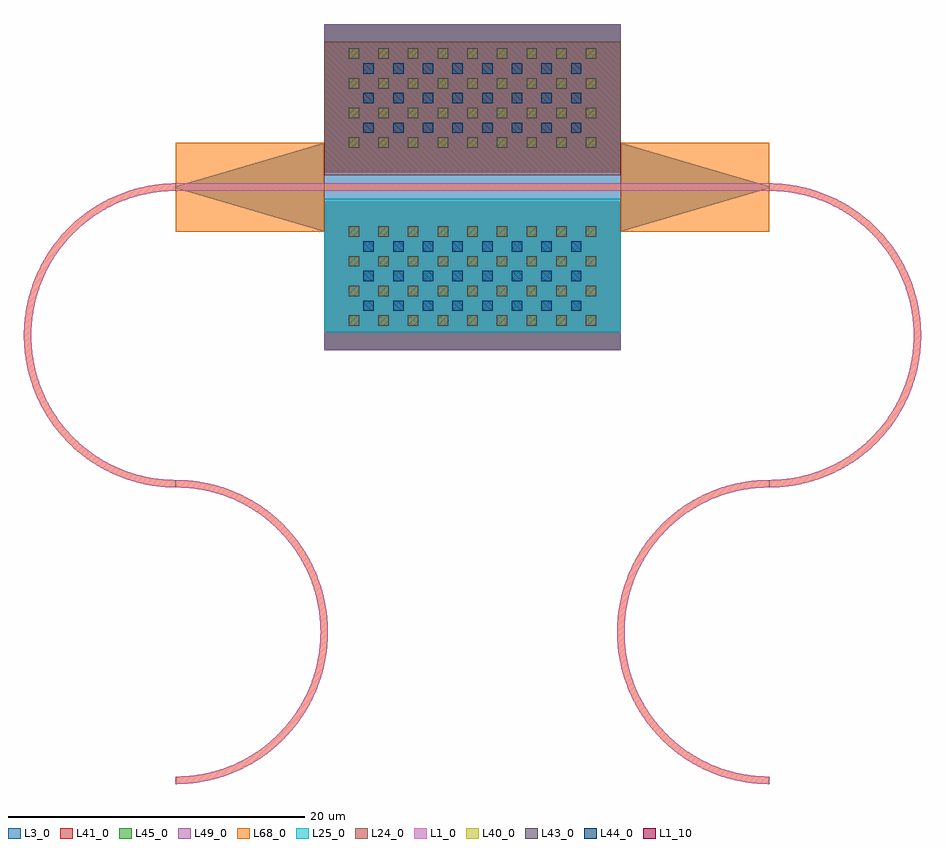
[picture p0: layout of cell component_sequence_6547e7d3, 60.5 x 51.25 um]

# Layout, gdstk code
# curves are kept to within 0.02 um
from math import pi, radians
import gdstk
lib = gdstk.Library(unit=1e-6, precision=1e-09)
def R(c, l, rs):  # rectangles x0, y0, x1, y1
    for r in rs: c.add(gdstk.rectangle(r[:2], r[2:], *l))
def P(c, l, *ps):  # polygons
    for p in ps: c.add(gdstk.Polygon(p, *l))
L1_0 = (1, 0)
L1_10 = (1, 10)
L3_0 = (3, 0)
L24_0 = (24, 0)
L25_0 = (25, 0)
L40_0 = (40, 0)
L41_0 = (41, 0)
L43_0 = (43, 0)
L44_0 = (44, 0)
L45_0 = (45, 0)
L49_0 = (49, 0)
L68_0 = (68, 0)

bend_circular_angle180 = lib.new_cell('bend_circular_angle180')
P(bend_circular_angle180, L1_0, [(0,-0.25),(0.985,-0.203),(1.961,-0.061),(2.919,0.174),(3.85,0.5),(4.745,0.914),(5.671,1.462),(6.466,2.046),(7.264,2.768),(7.982,3.569),(8.563,4.366),(9.065,5.215),(9.483,6.109),(9.813,7.038),(10.052,7.995),(10.198,8.97),(10.25,9.955),(10.207,10.94),(10.052,12.005),(9.813,12.962),(9.483,13.891),(9.065,14.785),(8.563,15.634),(7.982,16.431),(7.264,17.232),(6.535,17.897),(5.82,18.438),(4.982,18.958),(4.016,19.431),(3.091,19.773),(2.137,20.025),(1.074,20.194),(0.09,20.25),(0,20.25),(0,19.75),(1.107,19.687),(2.199,19.499),(3.344,19.159),(4.362,18.72),(5.034,18.35),(5.745,17.878),(6.411,17.346),(7.088,16.695),(7.646,16.05),(8.192,15.288),(8.662,14.476),(9.052,13.623),(9.382,12.654),(9.594,11.74),(9.709,10.895),(9.75,9.957),(9.701,9.02),(9.562,8.093),(9.334,7.182),(9.02,6.298),(8.662,5.524),(8.192,4.712),(7.646,3.95),(7.029,3.243),(6.411,2.654),(5.745,2.122),(5.034,1.65),(4.362,1.28),(3.344,0.841),(2.199,0.501),(1.107,0.313),(0,0.25)])
R(bend_circular_angle180, L1_10, [(-0.001,-0.25,0.001,0.25), (-0.001,19.75,0.001,20.25)])
P(bend_circular_angle180, L68_0, [(0,-0.25),(0.985,-0.203),(1.961,-0.061),(2.919,0.174),(3.85,0.5),(4.745,0.914),(5.671,1.462),(6.466,2.046),(7.264,2.768),(7.982,3.569),(8.563,4.366),(9.065,5.215),(9.483,6.109),(9.813,7.038),(10.052,7.995),(10.198,8.97),(10.25,9.955),(10.207,10.94),(10.052,12.005),(9.813,12.962),(9.483,13.891),(9.065,14.785),(8.563,15.634),(7.982,16.431),(7.264,17.232),(6.535,17.897),(5.82,18.438),(4.982,18.958),(4.016,19.431),(3.091,19.773),(2.137,20.025),(1.074,20.194),(0.09,20.25),(0,20.25),(0,19.75),(1.107,19.687),(2.199,19.499),(3.344,19.159),(4.362,18.72),(5.034,18.35),(5.745,17.878),(6.411,17.346),(7.088,16.695),(7.646,16.05),(8.192,15.288),(8.662,14.476),(9.052,13.623),(9.382,12.654),(9.594,11.74),(9.709,10.895),(9.75,9.957),(9.701,9.02),(9.562,8.093),(9.334,7.182),(9.02,6.298),(8.662,5.524),(8.192,4.712),(7.646,3.95),(7.029,3.243),(6.411,2.654),(5.745,2.122),(5.034,1.65),(4.362,1.28),(3.344,0.841),(2.199,0.501),(1.107,0.313),(0,0.25)])
bend_circular_angle180.add(gdstk.FlexPath([(0.001,0),(-0.001,0)], 0.5, ends="flush", simple_path=True, layer=1, datatype=10))  # L1_10
bend_circular_angle180.add(gdstk.FlexPath([(0.001,20),(-0.001,20)], 0.5, ends="flush", simple_path=True, layer=1, datatype=10))  # L1_10
bend_circular_angle180.add(gdstk.Label('o1', (0,0), layer=1, texttype=10))
bend_circular_angle180.add(gdstk.Label('o2', (0,20), layer=1, texttype=10))

straight_7b0384b3 = lib.new_cell('straight_7b0384b3')
R(straight_7b0384b3, L1_0, [(0,-0.25,20,0.25)])
R(straight_7b0384b3, L1_10, [(-0.001,-0.25,0.001,0.25), (19.999,-0.25,20.001,0.25)])
R(straight_7b0384b3, L3_0, [(0,-10,20,10)])
R(straight_7b0384b3, L24_0, [(0,0.8,20,9.8)])
R(straight_7b0384b3, L25_0, [(0,-9.8,20,-0.8)])
R(straight_7b0384b3, L68_0, [(0,-0.25,20,0.25)])
straight_7b0384b3.add(gdstk.FlexPath([(0.001,0),(-0.001,0)], 0.5, ends="flush", simple_path=True, layer=1, datatype=10))  # L1_10
straight_7b0384b3.add(gdstk.FlexPath([(19.999,0),(20.001,0)], 0.5, ends="flush", simple_path=True, layer=1, datatype=10))  # L1_10
straight_7b0384b3.add(gdstk.Label('o1', (0,0), layer=1, texttype=10))
straight_7b0384b3.add(gdstk.Label('o2', (20,0), layer=1, texttype=10))

taper_strip_to_ridge = lib.new_cell('taper_strip_to_ridge')
R(taper_strip_to_ridge, L1_0, [(0,-0.25,10,0.25)])
P(taper_strip_to_ridge, L3_0, [(0,0.075),(10,3),(10,-3),(0,-0.075)])
R(taper_strip_to_ridge, L68_0, [(0,-3,10,3)])
taper_strip_to_ridge.add(gdstk.FlexPath([(0.001,0),(-0.001,0)], 0.5, ends="flush", simple_path=True, layer=1, datatype=10))  # L1_10
taper_strip_to_ridge.add(gdstk.FlexPath([(9.999,0),(10.001,0)], 6, ends="flush", simple_path=True, layer=1, datatype=10))  # L1_10
taper_strip_to_ridge.add(gdstk.Label('o1', (0,0), layer=1, texttype=10))
taper_strip_to_ridge.add(gdstk.Label('o2', (10,0), layer=1, texttype=10))

compass_afe4cc08 = lib.new_cell('compass_afe4cc08')
R(compass_afe4cc08, L3_0, [(-10,-5,10,5)])

compass_03dff63b = lib.new_cell('compass_03dff63b')
R(compass_03dff63b, L41_0, [(-10,-5,10,5)])

compass_0f4f803a = lib.new_cell('compass_0f4f803a')
R(compass_0f4f803a, L45_0, [(-10,-5,10,5)])

compass_96c46e9f = lib.new_cell('compass_96c46e9f')
R(compass_96c46e9f, L49_0, [(-10,-5,10,5)])

via = lib.new_cell('via')
R(via, L40_0, [(-0.35,-0.35,0.35,0.35)])

via_enclosure2_layervia1 = lib.new_cell('via_enclosure2_layerVIA1')
R(via_enclosure2_layervia1, L44_0, [(-0.35,-0.35,0.35,0.35)])

via_layervia2 = lib.new_cell('via_layerVIA2')
R(via_layervia2, L43_0, [(-0.35,-0.35,0.35,0.35)])

via_stack_ec0dde6d = lib.new_cell('via_stack_ec0dde6d')
via_stack_ec0dde6d.add(gdstk.Reference(compass_afe4cc08, (0,0)))
via_stack_ec0dde6d.add(gdstk.Reference(compass_03dff63b, (0,0)))
via_stack_ec0dde6d.add(gdstk.Reference(compass_0f4f803a, (0,0)))
via_stack_ec0dde6d.add(gdstk.Reference(compass_96c46e9f, (0,0)))
r = gdstk.Reference(via, (-8,-3)); r.repetition = gdstk.Repetition(9, 4, v1=(2,0), v2=(0,2)); via_stack_ec0dde6d.add(r)
r = gdstk.Reference(via_enclosure2_layervia1, (-7,-2)); r.repetition = gdstk.Repetition(8, 3, v1=(2,0), v2=(0,2)); via_stack_ec0dde6d.add(r)
r = gdstk.Reference(via_layervia2, (-8,-3)); r.repetition = gdstk.Repetition(9, 4, v1=(2,0), v2=(0,2)); via_stack_ec0dde6d.add(r)

straight_pin_length40 = lib.new_cell('straight_pin_length40')
straight_pin_length40.add(gdstk.Reference(straight_7b0384b3, (0,0)))
straight_pin_length40.add(gdstk.Reference(taper_strip_to_ridge, (-10,0)))
straight_pin_length40.add(gdstk.Reference(taper_strip_to_ridge, (30,0), rotation=pi))
straight_pin_length40.add(gdstk.Reference(via_stack_ec0dde6d, (9.999,6)))
straight_pin_length40.add(gdstk.Reference(via_stack_ec0dde6d, (9.999,-6)))

component_sequence_6547e = lib.new_cell('component_sequence_6547e7d3')
component_sequence_6547e.add(gdstk.Reference(bend_circular_angle180, (0,0)))
component_sequence_6547e.add(gdstk.Reference(bend_circular_angle180, (0,40), rotation=pi))
component_sequence_6547e.add(gdstk.Reference(straight_pin_length40, (10,40)))
component_sequence_6547e.add(gdstk.Reference(bend_circular_angle180, (40,20)))
component_sequence_6547e.add(gdstk.Reference(bend_circular_angle180, (40,20), rotation=pi))

lib.write_gds('component_sequence_6547e7d3.gds')
